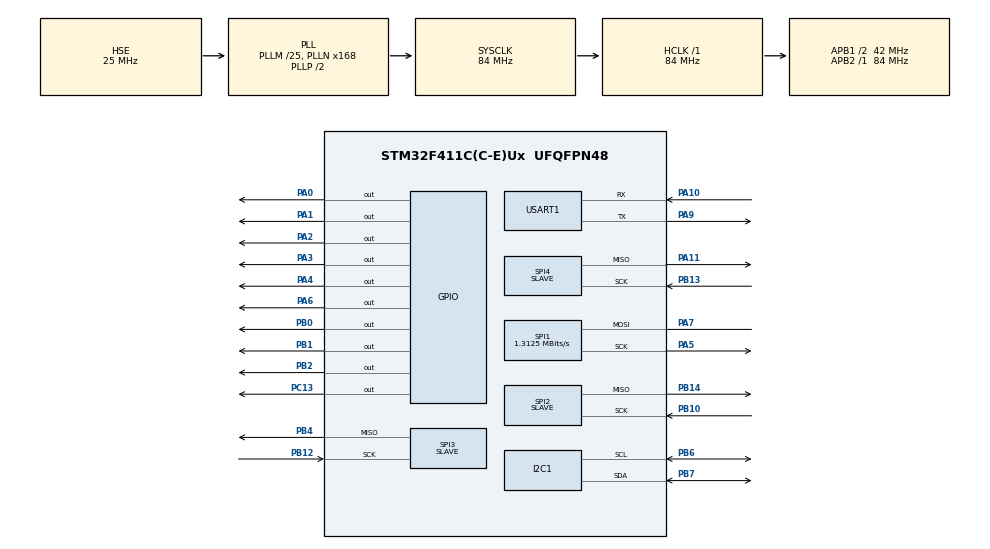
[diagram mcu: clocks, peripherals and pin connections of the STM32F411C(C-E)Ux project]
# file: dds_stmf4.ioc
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Dma.I2C1_TX.6.Direction=DMA_MEMORY_TO_PERIPH
Dma.I2C1_TX.6.FIFOMode=DMA_FIFOMODE_DISABLE
Dma.I2C1_TX.6.Instance=DMA1_Stream1
Dma.I2C1_TX.6.MemDataAlignment=DMA_MDATAALIGN_BYTE
Dma.I2C1_TX.6.MemInc=DMA_MINC_ENABLE
Dma.I2C1_TX.6.Mode=DMA_NORMAL
Dma.I2C1_TX.6.PeriphDataAlignment=DMA_PDATAALIGN_BYTE
Dma.I2C1_TX.6.PeriphInc=DMA_PINC_DISABLE
Dma.I2C1_TX.6.Priority=DMA_PRIORITY_LOW
Dma.Request0=SPI1_TX
Dma.Request1=SPI2_TX
Dma.Request2=SPI4_TX
Dma.Request3=SPI3_TX
Dma.Request4=USART1_TX
Dma.Request5=USART1_RX
Dma.Request6=I2C1_TX
Dma.SPI1_TX.0.Direction=DMA_MEMORY_TO_PERIPH
Dma.SPI1_TX.0.FIFOMode=DMA_FIFOMODE_DISABLE
Dma.SPI1_TX.0.Instance=DMA2_Stream2
Dma.SPI1_TX.0.MemDataAlignment=DMA_MDATAALIGN_BYTE
Dma.SPI1_TX.0.MemInc=DMA_MINC_ENABLE
Dma.SPI1_TX.0.Mode=DMA_NORMAL
Dma.SPI1_TX.0.PeriphDataAlignment=DMA_PDATAALIGN_BYTE
Dma.SPI1_TX.0.PeriphInc=DMA_PINC_DISABLE
Dma.SPI1_TX.0.Priority=DMA_PRIORITY_LOW
Dma.SPI2_TX.1.Direction=DMA_MEMORY_TO_PERIPH
Dma.SPI2_TX.1.FIFOMode=DMA_FIFOMODE_DISABLE
Dma.SPI2_TX.1.Instance=DMA1_Stream4
Dma.SPI2_TX.1.MemDataAlignment=DMA_MDATAALIGN_BYTE
Dma.SPI2_TX.1.MemInc=DMA_MINC_ENABLE
Dma.SPI2_TX.1.Mode=DMA_NORMAL
Dma.SPI2_TX.1.PeriphDataAlignment=DMA_PDATAALIGN_BYTE
Dma.SPI2_TX.1.PeriphInc=DMA_PINC_DISABLE
Dma.SPI2_TX.1.Priority=DMA_PRIORITY_LOW
Dma.SPI3_TX.3.Direction=DMA_MEMORY_TO_PERIPH
Dma.SPI3_TX.3.FIFOMode=DMA_FIFOMODE_DISABLE
Dma.SPI3_TX.3.Instance=DMA1_Stream5
Dma.SPI3_TX.3.MemDataAlignment=DMA_MDATAALIGN_BYTE
Dma.SPI3_TX.3.MemInc=DMA_MINC_ENABLE
Dma.SPI3_TX.3.Mode=DMA_NORMAL
Dma.SPI3_TX.3.PeriphDataAlignment=DMA_PDATAALIGN_BYTE
Dma.SPI3_TX.3.PeriphInc=DMA_PINC_DISABLE
Dma.SPI3_TX.3.Priority=DMA_PRIORITY_LOW
Dma.SPI4_TX.2.Direction=DMA_MEMORY_TO_PERIPH
Dma.SPI4_TX.2.FIFOMode=DMA_FIFOMODE_DISABLE
Dma.SPI4_TX.2.Instance=DMA2_Stream1
Dma.SPI4_TX.2.MemDataAlignment=DMA_MDATAALIGN_BYTE
Dma.SPI4_TX.2.MemInc=DMA_MINC_ENABLE
Dma.SPI4_TX.2.Mode=DMA_NORMAL
Dma.SPI4_TX.2.PeriphDataAlignment=DMA_PDATAALIGN_BYTE
Dma.SPI4_TX.2.PeriphInc=DMA_PINC_DISABLE
Dma.SPI4_TX.2.Priority=DMA_PRIORITY_LOW
Dma.USART1_RX.5.Direction=DMA_PERIPH_TO_MEMORY
Dma.USART1_RX.5.FIFOMode=DMA_FIFOMODE_DISABLE
Dma.USART1_RX.5.Instance=DMA2_Stream5
Dma.USART1_RX.5.MemDataAlignment=DMA_MDATAALIGN_BYTE
Dma.USART1_RX.5.MemInc=DMA_MINC_ENABLE
Dma.USART1_RX.5.Mode=DMA_NORMAL
Dma.USART1_RX.5.PeriphDataAlignment=DMA_PDATAALIGN_BYTE
Dma.USART1_RX.5.PeriphInc=DMA_PINC_DISABLE
Dma.USART1_RX.5.Priority=DMA_PRIORITY_LOW
Dma.USART1_TX.4.Direction=DMA_MEMORY_TO_PERIPH
Dma.USART1_TX.4.FIFOMode=DMA_FIFOMODE_DISABLE
Dma.USART1_TX.4.Instance=DMA2_Stream7
Dma.USART1_TX.4.MemDataAlignment=DMA_MDATAALIGN_BYTE
Dma.USART1_TX.4.MemInc=DMA_MINC_ENABLE
Dma.USART1_TX.4.Mode=DMA_NORMAL
Dma.USART1_TX.4.PeriphDataAlignment=DMA_PDATAALIGN_BYTE
Dma.USART1_TX.4.PeriphInc=DMA_PINC_DISABLE
Dma.USART1_TX.4.Priority=DMA_PRIORITY_LOW
Mcu.Family=STM32F4
Mcu.Name=STM32F411C(C-E)Ux
Mcu.Package=UFQFPN48
NVIC.DMA1_Stream1_IRQn=true\:0\:0\:false\:false\:true\:false\:true\:true
NVIC.DMA1_Stream4_IRQn=true\:0\:0\:false\:false\:true\:false\:true\:true
NVIC.DMA1_Stream5_IRQn=true\:0\:0\:false\:false\:true\:false\:true\:true
NVIC.DMA2_Stream1_IRQn=true\:0\:0\:false\:false\:true\:false\:true\:true
NVIC.DMA2_Stream2_IRQn=true\:0\:0\:false\:false\:true\:false\:true\:true
NVIC.DMA2_Stream5_IRQn=true\:0\:0\:false\:false\:true\:false\:true\:true
NVIC.DMA2_Stream7_IRQn=true\:0\:0\:false\:false\:true\:false\:true\:true
NVIC.PriorityGroup=NVIC_PRIORITYGROUP_4
NVIC.SPI1_IRQn=true\:0\:0\:false\:false\:true\:true\:true\:true
NVIC.USART1_IRQn=true\:0\:0\:false\:false\:true\:true\:true\:true
PA0-WKUP.GPIO_PuPd=GPIO_PULLDOWN
PA0-WKUP.GPIO_Speed=GPIO_SPEED_FREQ_VERY_HIGH
PA0-WKUP.Signal=GPIO_Output
PA1.GPIO_PuPd=GPIO_PULLDOWN
PA1.GPIO_Speed=GPIO_SPEED_FREQ_VERY_HIGH
PA1.Signal=GPIO_Output
PA10.Mode=Asynchronous
PA10.Signal=USART1_RX
PA11.Mode=TX_Only_Simplex_Unidirect_Slave
PA11.Signal=SPI4_MISO
PA13.Mode=Serial_Wire
PA13.Signal=SYS_JTMS-SWDIO
PA14.Mode=Serial_Wire
PA14.Signal=SYS_JTCK-SWCLK
PA2.GPIO_PuPd=GPIO_PULLDOWN
PA2.GPIO_Speed=GPIO_SPEED_FREQ_VERY_HIGH
PA2.Signal=GPIO_Output
PA3.GPIO_PuPd=GPIO_PULLDOWN
PA3.GPIO_Speed=GPIO_SPEED_FREQ_VERY_HIGH
PA3.Signal=GPIO_Output
PA4.GPIO_PuPd=GPIO_PULLDOWN
PA4.GPIO_Speed=GPIO_SPEED_FREQ_VERY_HIGH
PA4.Signal=GPIO_Output
PA5.Mode=Simplex_Bidirectional_Master
PA5.Signal=SPI1_SCK
PA6.GPIO_ModeDefaultOutputPP=GPIO_MODE_OUTPUT_OD
PA6.GPIO_PuPd=GPIO_NOPULL
PA6.GPIO_Speed=GPIO_SPEED_FREQ_VERY_HIGH
PA6.PinState=GPIO_PIN_SET
PA6.Signal=GPIO_Output
PA7.Mode=Simplex_Bidirectional_Master
PA7.Signal=SPI1_MOSI
PA9.Mode=Asynchronous
PA9.Signal=USART1_TX
PB0.GPIO_PuPd=GPIO_PULLDOWN
PB0.GPIO_Speed=GPIO_SPEED_FREQ_VERY_HIGH
PB0.Signal=GPIO_Output
PB1.GPIO_PuPd=GPIO_PULLDOWN
PB1.GPIO_Speed=GPIO_SPEED_FREQ_VERY_HIGH
PB1.Signal=GPIO_Output
PB10.Mode=TX_Only_Simplex_Unidirect_Slave
PB10.Signal=SPI2_SCK
PB12.Mode=TX_Only_Simplex_Unidirect_Slave
PB12.Signal=SPI3_SCK
PB13.Mode=TX_Only_Simplex_Unidirect_Slave
PB13.Signal=SPI4_SCK
PB14.Mode=TX_Only_Simplex_Unidirect_Slave
PB14.Signal=SPI2_MISO
PB2.GPIO_PuPd=GPIO_PULLDOWN
PB2.GPIO_Speed=GPIO_SPEED_FREQ_VERY_HIGH
PB2.Signal=GPIO_Output
PB4.Mode=TX_Only_Simplex_Unidirect_Slave
PB4.Signal=SPI3_MISO
PB6.Mode=I2C
PB6.Signal=I2C1_SCL
PB7.Mode=I2C
PB7.Signal=I2C1_SDA
PC13-ANTI_TAMP.GPIO_PuPd=GPIO_PULLDOWN
PC13-ANTI_TAMP.Signal=GPIO_Output
PH0\ -\ OSC_IN.Mode=HSE-External-Oscillator
PH0\ -\ OSC_IN.Signal=RCC_OSC_IN
PH1\ -\ OSC_OUT.Mode=HSE-External-Oscillator
PH1\ -\ OSC_OUT.Signal=RCC_OSC_OUT
ProjectManager.HeapSize=0x200
ProjectManager.StackSize=0x400
ProjectManager.TargetToolchain=MDK-ARM V5.32
RCC.48MHZClocksFreq_Value=42000000
RCC.AHBFreq_Value=84000000
RCC.APB1CLKDivider=RCC_HCLK_DIV2
RCC.APB1Freq_Value=42000000
RCC.APB1TimFreq_Value=84000000
RCC.APB2Freq_Value=84000000
RCC.APB2TimFreq_Value=84000000
RCC.CortexFreq_Value=84000000
RCC.HCLKFreq_Value=84000000
RCC.HSE_VALUE=25000000
RCC.HSI_VALUE=16000000
RCC.LSE_VALUE=32768
RCC.PLLM=25
RCC.PLLN=168
RCC.PLLSourceVirtual=RCC_PLLSOURCE_HSE
RCC.RCC_RTC_Clock_SourceVirtual=RCC_RTCCLKSOURCE_HSE_DIV25
RCC.RCC_RTC_Clock_Source_FROM_HSE=RCC_RTCCLKSOURCE_HSE_DIV25
RCC.SYSCLKFreq_VALUE=84000000
RCC.SYSCLKSource=RCC_SYSCLKSOURCE_PLLCLK
RCC.VCOOutputFreq_Value=168000000
SPI1.BaudRatePrescaler=SPI_BAUDRATEPRESCALER_64
SPI1.CalculateBaudRate=1.3125 MBits/s
SPI1.DataSize=SPI_DATASIZE_8BIT
SPI1.Direction=SPI_DIRECTION_1LINE
SPI1.Mode=SPI_MODE_MASTER
SPI1.VirtualType=VM_MASTER
SPI2.DataSize=SPI_DATASIZE_8BIT
SPI2.Direction=SPI_DIRECTION_2LINES
SPI2.Mode=SPI_MODE_SLAVE
SPI2.VirtualType=VM_SLAVE
SPI3.DataSize=SPI_DATASIZE_8BIT
SPI3.Direction=SPI_DIRECTION_2LINES
SPI3.Mode=SPI_MODE_SLAVE
SPI3.VirtualType=VM_SLAVE
SPI4.DataSize=SPI_DATASIZE_8BIT
SPI4.Direction=SPI_DIRECTION_2LINES
SPI4.Mode=SPI_MODE_SLAVE
SPI4.VirtualType=VM_SLAVE
USART1.VirtualMode=VM_ASYNC
VP_RTC_VS_RTC_Activate.Mode=RTC_Enabled
board=custom

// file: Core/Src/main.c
/* USER CODE BEGIN Header */
/**
  ******************************************************************************
  * @file           : main.c
  * @brief          : Main program body
  ******************************************************************************
  * @attention
  *
  * Copyright (c) 2025 STMicroelectronics.
  * All rights reserved.
  *
  * This software is licensed under terms that can be found in the LICENSE file
  * in the root directory of this software component.
  * If no LICENSE file comes with this software, it is provided AS-IS.
  *
  ******************************************************************************
  */
/* USER CODE END Header */
#include "main.h"

/* USER CODE BEGIN Includes */
#include <string.h>

/* USER CODE END Includes */

I2C_HandleTypeDef hi2c1;
DMA_HandleTypeDef hdma_i2c1_tx;

RTC_HandleTypeDef hrtc;

SPI_HandleTypeDef hspi1;
SPI_HandleTypeDef hspi2;
SPI_HandleTypeDef hspi3;
SPI_HandleTypeDef hspi4;
DMA_HandleTypeDef hdma_spi1_tx;
DMA_HandleTypeDef hdma_spi2_tx;
DMA_HandleTypeDef hdma_spi3_tx;
DMA_HandleTypeDef hdma_spi4_tx;

UART_HandleTypeDef huart1;
DMA_HandleTypeDef hdma_usart1_tx;
DMA_HandleTypeDef hdma_usart1_rx;

void SystemClock_Config(void);
static void MX_GPIO_Init(void);
static void MX_DMA_Init(void);
static void MX_SPI1_Init(void);
static void MX_SPI2_Init(void);
static void MX_SPI3_Init(void);
static void MX_SPI4_Init(void);
static void MX_USART1_UART_Init(void);
static void MX_I2C1_Init(void);
static void MX_RTC_Init(void);
/* USER CODE BEGIN PFP */

char str[18] = "";
uint8_t inpStr[8];
int position = 2;
int totalPosition = 5;
uint8_t sendMode = 1;
uint8_t resMode = 0;

/* USER CODE END PFP */

/* USER CODE BEGIN 0 */
void HAL_SPI_RxCpltCallback(SPI_HandleTypeDef *hspi) {
	HAL_UART_Transmit(&huart1, (uint8_t*) "spi ", 4, 0xFF);
	HAL_UART_Transmit(&huart1, (uint8_t*) str, totalPosition, 0xFF);
	HAL_UART_Transmit(&huart1, (uint8_t*) "\r\n", 2, 0xFF);
}

void HAL_UART_RxCpltCallback(UART_HandleTypeDef *huart) {

	if (resMode == 0) {
		if (inpStr[0] == 0x14) {
			HAL_GPIO_WritePin(GPIOB, GPIO_PIN_0, GPIO_PIN_SET);
			//HAL_Delay(100);
			for(int i = 0; i<100000; i++) {};
			HAL_UART_Receive_IT(&huart1,inpStr,3);
			HAL_GPIO_WritePin(GPIOB, GPIO_PIN_0, GPIO_PIN_RESET);
		}
		else if (inpStr[0] == 0x15) {
			HAL_GPIO_WritePin(GPIOA, GPIO_PIN_6, GPIO_PIN_RESET);
			//HAL_Delay(100);
			for(int i = 0; i<100000; i++) {};
			HAL_UART_Receive_IT(&huart1,inpStr,3);
			HAL_GPIO_WritePin(GPIOA, GPIO_PIN_6, GPIO_PIN_SET);
		}
		else if (inpStr[0] == 0x20) {
			HAL_GPIO_WritePin(GPIOA, GPIO_PIN_4, GPIO_PIN_RESET);
			totalPosition = (int) inpStr[1];
			uint8_t addrRead[1];
			addrRead[0] = (0x80 | inpStr[2]);
			HAL_SPI_Transmit(&hspi1, (uint8_t*)addrRead, 1, 0xFF);
			HAL_SPI_Receive_DMA(&hspi1, (uint8_t*)str, totalPosition);
			HAL_UART_Receive_IT(&huart1,inpStr,3);
			HAL_GPIO_WritePin(GPIOA, GPIO_PIN_4, GPIO_PIN_SET);
		}
		else {
			sendMode = (int)inpStr[0];
			totalPosition = (int) inpStr[1];
			resMode = 1;
			HAL_UART_Receive_IT(&huart1,(uint8_t*)str,totalPosition);
		}
	}
	else {
		if (sendMode == 1) {
			HAL_GPIO_WritePin(GPIOA, GPIO_PIN_4, GPIO_PIN_RESET);
			HAL_SPI_Transmit_DMA(&hspi1, (uint8_t*)str, totalPosition);
			HAL_UART_Transmit(&huart1, (uint8_t*)str, totalPosition, 0xFFFF);
			HAL_UART_Transmit(&huart1, (uint8_t*)"\r\n", 2, 0xFFFF);
			//HAL_Delay(1);
			HAL_GPIO_WritePin(GPIOA, GPIO_PIN_4, GPIO_PIN_SET);
		}
		else if (sendMode == 3) {
			HAL_GPIO_WritePin(GPIOA, GPIO_PIN_4, GPIO_PIN_RESET);
			HAL_SPI_Transmit(&hspi1, (uint8_t*)str, 1, 0xFFFF);
			HAL_SPI_Transmit_DMA(&hspi1, (uint8_t*)str+1, totalPosition-1);
			uint8_t sstr[25];
			HAL_UART_Transmit(&huart1, (uint8_t*)str, totalPosition, 0xFFFF);
			HAL_UART_Transmit(&huart1, (uint8_t*)"\r\n", 2, 0xFFFF);
			//HAL_Delay(1);
			HAL_GPIO_WritePin(GPIOA, GPIO_PIN_4, GPIO_PIN_SET);
		}
		resMode = 0;
		//HAL_Delay(100);
		HAL_UART_Receive_IT(&huart1,inpStr,3);
	}

	/*if (totalPosition == 0) {
		sendMode = (int)inpStr[0];
		totalPosition = 1;
		position = 0;
	}
	else if ((position == 0)&&(totalPosition == 1)) {
		totalPosition = (int)inpStr[0];
		position = 1;
	}
	else if (position < totalPosition) {
		str[position-1] = inpStr[0];
		position++;
	}
	else {
		str[position-1] = inpStr[0];
		totalPosition = 0;
		if (sendMode == 1) {
			HAL_SPI_Transmit_DMA(&hspi1, (uint8_t*)str, strlen(str));
			HAL_UART_Transmit(&huart1, (uint8_t*) str, strlen(str), 0xFFFF);
			HAL_UART_Transmit(&huart1, (uint8_t*) "\r\n", 2, 0xFFFF);
		}
	}*/

	/*if (inpStr[0] != '\n') {
		str[position] = inpStr[0];
		//for (int i = 0; i<16; i++) str[i]=(uint8_t)0x00;
		if (position < 16) position++;
		else {
			str[position] = '\n';
			//str[position + 1] = (uint8_t)0x00;
			position = 0;
		}
	}
	else {
		position++;
		str[position] = '\n';
		while (position < 18) {
			position++;
			str[position] = (uint8_t)0x00;
		}
		position = 0;
	}*/

}
/* USER CODE END 0 */

int main(void)
{

  /* MCU Configuration--------------------------------------------------------*/

  /* Reset of all peripherals, Initializes the Flash interface and the Systick. */
  HAL_Init();

  /* Configure the system clock */
  SystemClock_Config();

  /* Initialize all configured peripherals */
  MX_GPIO_Init();
  MX_DMA_Init();
  MX_SPI1_Init();
  MX_SPI2_Init();
  MX_SPI3_Init();
  MX_SPI4_Init();
  MX_USART1_UART_Init();
  MX_I2C1_Init();
  MX_RTC_Init();
  /* USER CODE BEGIN 2 */
	HAL_UART_Transmit(&huart1, (uint8_t*)"uart->SPI v0.1.1\r\n", 18, 0xFFFF);
	HAL_UART_Receive_IT(&huart1, inpStr, 3);
	str[0] = (uint8_t)0x33;
	str[1] = (uint8_t)0x3D;
	str[2] = (uint8_t)0x3D;
	str[3] = (uint8_t)0x3D;
	str[4] = (uint8_t)0x44;
	HAL_GPIO_WritePin(GPIOA, GPIO_PIN_4, GPIO_PIN_SET);
  /* USER CODE END 2 */

  /* Infinite loop */
  while (1)
  {

    /* USER CODE BEGIN 3 */
		if (sendMode == 0) {
			HAL_GPIO_WritePin(GPIOA, GPIO_PIN_4, GPIO_PIN_RESET);
			HAL_SPI_Transmit_DMA(&hspi1, (uint8_t*) str, totalPosition);
			HAL_UART_Transmit(&huart1, (uint8_t*)str, totalPosition, 0xFFFF);
			HAL_UART_Transmit(&huart1, (uint8_t*)"\r\n", 2, 0xFFFF);
			//HAL_Delay(1);
			HAL_GPIO_WritePin(GPIOA, GPIO_PIN_4, GPIO_PIN_SET);
		}
		HAL_GPIO_TogglePin(GPIOC, GPIO_PIN_13);
		HAL_Delay(sendMode == 2 ? 100 : 1000);
  }
  /* USER CODE END 3 */
}

void SystemClock_Config(void)
{
  RCC_OscInitTypeDef RCC_OscInitStruct = {0};
  RCC_ClkInitTypeDef RCC_ClkInitStruct = {0};

  /** Configure the main internal regulator output voltage
  */
  __HAL_RCC_PWR_CLK_ENABLE();
  __HAL_PWR_VOLTAGESCALING_CONFIG(PWR_REGULATOR_VOLTAGE_SCALE1);

  /** Initializes the RCC Oscillators according to the specified parameters
  * in the RCC_OscInitTypeDef structure.
  */
  RCC_OscInitStruct.OscillatorType = RCC_OSCILLATORTYPE_HSE;
  RCC_OscInitStruct.HSEState = RCC_HSE_ON;
  RCC_OscInitStruct.PLL.PLLState = RCC_PLL_ON;
  RCC_OscInitStruct.PLL.PLLSource = RCC_PLLSOURCE_HSE;
  RCC_OscInitStruct.PLL.PLLM = 25;
  RCC_OscInitStruct.PLL.PLLN = 168;
  RCC_OscInitStruct.PLL.PLLP = RCC_PLLP_DIV2;
  RCC_OscInitStruct.PLL.PLLQ = 4;
  if (HAL_RCC_OscConfig(&RCC_OscInitStruct) != HAL_OK)
  {
    Error_Handler();
  }

  /** Initializes the CPU, AHB and APB buses clocks
  */
  RCC_ClkInitStruct.ClockType = RCC_CLOCKTYPE_HCLK|RCC_CLOCKTYPE_SYSCLK
                              |RCC_CLOCKTYPE_PCLK1|RCC_CLOCKTYPE_PCLK2;
  RCC_ClkInitStruct.SYSCLKSource = RCC_SYSCLKSOURCE_PLLCLK;
  RCC_ClkInitStruct.AHBCLKDivider = RCC_SYSCLK_DIV1;
  RCC_ClkInitStruct.APB1CLKDivider = RCC_HCLK_DIV2;
  RCC_ClkInitStruct.APB2CLKDivider = RCC_HCLK_DIV1;

  if (HAL_RCC_ClockConfig(&RCC_ClkInitStruct, FLASH_LATENCY_2) != HAL_OK)
  {
    Error_Handler();
  }
}

static void MX_I2C1_Init(void)
{

  hi2c1.Instance = I2C1;
  hi2c1.Init.ClockSpeed = 100000;
  hi2c1.Init.DutyCycle = I2C_DUTYCYCLE_2;
  hi2c1.Init.OwnAddress1 = 0;
  hi2c1.Init.AddressingMode = I2C_ADDRESSINGMODE_7BIT;
  hi2c1.Init.DualAddressMode = I2C_DUALADDRESS_DISABLE;
  hi2c1.Init.OwnAddress2 = 0;
  hi2c1.Init.GeneralCallMode = I2C_GENERALCALL_DISABLE;
  hi2c1.Init.NoStretchMode = I2C_NOSTRETCH_DISABLE;
  if (HAL_I2C_Init(&hi2c1) != HAL_OK)
  {
    Error_Handler();
  }

}

static void MX_RTC_Init(void)
{

  /** Initialize RTC Only
  */
  hrtc.Instance = RTC;
  hrtc.Init.HourFormat = RTC_HOURFORMAT_24;
  hrtc.Init.AsynchPrediv = 127;
  hrtc.Init.SynchPrediv = 255;
  hrtc.Init.OutPut = RTC_OUTPUT_DISABLE;
  hrtc.Init.OutPutPolarity = RTC_OUTPUT_POLARITY_HIGH;
  hrtc.Init.OutPutType = RTC_OUTPUT_TYPE_OPENDRAIN;
  if (HAL_RTC_Init(&hrtc) != HAL_OK)
  {
    Error_Handler();
  }

}

static void MX_SPI1_Init(void)
{

  /* SPI1 parameter configuration*/
  hspi1.Instance = SPI1;
  hspi1.Init.Mode = SPI_MODE_MASTER;
  hspi1.Init.Direction = SPI_DIRECTION_1LINE;
  hspi1.Init.DataSize = SPI_DATASIZE_8BIT;
  hspi1.Init.CLKPolarity = SPI_POLARITY_LOW;
  hspi1.Init.CLKPhase = SPI_PHASE_1EDGE;
  hspi1.Init.NSS = SPI_NSS_SOFT;
  hspi1.Init.BaudRatePrescaler = SPI_BAUDRATEPRESCALER_64;
  hspi1.Init.FirstBit = SPI_FIRSTBIT_MSB;
  hspi1.Init.TIMode = SPI_TIMODE_DISABLE;
  hspi1.Init.CRCCalculation = SPI_CRCCALCULATION_DISABLE;
  hspi1.Init.CRCPolynomial = 10;
  if (HAL_SPI_Init(&hspi1) != HAL_OK)
  {
    Error_Handler();
  }

}

static void MX_SPI2_Init(void)
{

  /* SPI2 parameter configuration*/
  hspi2.Instance = SPI2;
  hspi2.Init.Mode = SPI_MODE_SLAVE;
  hspi2.Init.Direction = SPI_DIRECTION_2LINES;
  hspi2.Init.DataSize = SPI_DATASIZE_8BIT;
  hspi2.Init.CLKPolarity = SPI_POLARITY_LOW;
  hspi2.Init.CLKPhase = SPI_PHASE_1EDGE;
  hspi2.Init.NSS = SPI_NSS_SOFT;
  hspi2.Init.FirstBit = SPI_FIRSTBIT_MSB;
  hspi2.Init.TIMode = SPI_TIMODE_DISABLE;
  hspi2.Init.CRCCalculation = SPI_CRCCALCULATION_DISABLE;
  hspi2.Init.CRCPolynomial = 10;
  if (HAL_SPI_Init(&hspi2) != HAL_OK)
  {
    Error_Handler();
  }

}

static void MX_SPI3_Init(void)
{

  /* SPI3 parameter configuration*/
  hspi3.Instance = SPI3;
  hspi3.Init.Mode = SPI_MODE_SLAVE;
  hspi3.Init.Direction = SPI_DIRECTION_2LINES;
  hspi3.Init.DataSize = SPI_DATASIZE_8BIT;
  hspi3.Init.CLKPolarity = SPI_POLARITY_LOW;
  hspi3.Init.CLKPhase = SPI_PHASE_1EDGE;
  hspi3.Init.NSS = SPI_NSS_SOFT;
  hspi3.Init.FirstBit = SPI_FIRSTBIT_MSB;
  hspi3.Init.TIMode = SPI_TIMODE_DISABLE;
  hspi3.Init.CRCCalculation = SPI_CRCCALCULATION_DISABLE;
  hspi3.Init.CRCPolynomial = 10;
  if (HAL_SPI_Init(&hspi3) != HAL_OK)
  {
    Error_Handler();
  }

}

static void MX_SPI4_Init(void)
{

  /* SPI4 parameter configuration*/
  hspi4.Instance = SPI4;
  hspi4.Init.Mode = SPI_MODE_SLAVE;
  hspi4.Init.Direction = SPI_DIRECTION_2LINES;
  hspi4.Init.DataSize = SPI_DATASIZE_8BIT;
  hspi4.Init.CLKPolarity = SPI_POLARITY_LOW;
  hspi4.Init.CLKPhase = SPI_PHASE_1EDGE;
  hspi4.Init.NSS = SPI_NSS_SOFT;
  hspi4.Init.FirstBit = SPI_FIRSTBIT_MSB;
  hspi4.Init.TIMode = SPI_TIMODE_DISABLE;
  hspi4.Init.CRCCalculation = SPI_CRCCALCULATION_DISABLE;
  hspi4.Init.CRCPolynomial = 10;
  if (HAL_SPI_Init(&hspi4) != HAL_OK)
  {
    Error_Handler();
  }

}

static void MX_USART1_UART_Init(void)
{

  huart1.Instance = USART1;
  huart1.Init.BaudRate = 115200;
  huart1.Init.WordLength = UART_WORDLENGTH_8B;
  huart1.Init.StopBits = UART_STOPBITS_1;
  huart1.Init.Parity = UART_PARITY_NONE;
  huart1.Init.Mode = UART_MODE_TX_RX;
  huart1.Init.HwFlowCtl = UART_HWCONTROL_NONE;
  huart1.Init.OverSampling = UART_OVERSAMPLING_16;
  if (HAL_UART_Init(&huart1) != HAL_OK)
  {
    Error_Handler();
  }

}

static void MX_DMA_Init(void)
{

  /* DMA controller clock enable */
  __HAL_RCC_DMA2_CLK_ENABLE();
  __HAL_RCC_DMA1_CLK_ENABLE();

  /* DMA interrupt init */
  /* DMA1_Stream1_IRQn interrupt configuration */
  HAL_NVIC_SetPriority(DMA1_Stream1_IRQn, 0, 0);
  HAL_NVIC_EnableIRQ(DMA1_Stream1_IRQn);
  /* DMA1_Stream4_IRQn interrupt configuration */
  HAL_NVIC_SetPriority(DMA1_Stream4_IRQn, 0, 0);
  HAL_NVIC_EnableIRQ(DMA1_Stream4_IRQn);
  /* DMA1_Stream5_IRQn interrupt configuration */
  HAL_NVIC_SetPriority(DMA1_Stream5_IRQn, 0, 0);
  HAL_NVIC_EnableIRQ(DMA1_Stream5_IRQn);
  /* DMA2_Stream1_IRQn interrupt configuration */
  HAL_NVIC_SetPriority(DMA2_Stream1_IRQn, 0, 0);
  HAL_NVIC_EnableIRQ(DMA2_Stream1_IRQn);
  /* DMA2_Stream2_IRQn interrupt configuration */
  HAL_NVIC_SetPriority(DMA2_Stream2_IRQn, 0, 0);
  HAL_NVIC_EnableIRQ(DMA2_Stream2_IRQn);
  /* DMA2_Stream5_IRQn interrupt configuration */
  HAL_NVIC_SetPriority(DMA2_Stream5_IRQn, 0, 0);
  HAL_NVIC_EnableIRQ(DMA2_Stream5_IRQn);
  /* DMA2_Stream7_IRQn interrupt configuration */
  HAL_NVIC_SetPriority(DMA2_Stream7_IRQn, 0, 0);
  HAL_NVIC_EnableIRQ(DMA2_Stream7_IRQn);

}

static void MX_GPIO_Init(void)
{
  GPIO_InitTypeDef GPIO_InitStruct = {0};

  /* GPIO Ports Clock Enable */
  __HAL_RCC_GPIOC_CLK_ENABLE();
  __HAL_RCC_GPIOH_CLK_ENABLE();
  __HAL_RCC_GPIOA_CLK_ENABLE();
  __HAL_RCC_GPIOB_CLK_ENABLE();

  /*Configure GPIO pin Output Level */
  HAL_GPIO_WritePin(GPIOC, GPIO_PIN_13, GPIO_PIN_RESET);

  /*Configure GPIO pin Output Level */
  HAL_GPIO_WritePin(GPIOA, GPIO_PIN_0|GPIO_PIN_1|GPIO_PIN_2|GPIO_PIN_3
                          |GPIO_PIN_4, GPIO_PIN_RESET);

  /*Configure GPIO pin Output Level */
  HAL_GPIO_WritePin(GPIOA, GPIO_PIN_6, GPIO_PIN_SET);

  /*Configure GPIO pin Output Level */
  HAL_GPIO_WritePin(GPIOB, GPIO_PIN_0|GPIO_PIN_1|GPIO_PIN_2, GPIO_PIN_RESET);

  /*Configure GPIO pin : PC13 */
  GPIO_InitStruct.Pin = GPIO_PIN_13;
  GPIO_InitStruct.Mode = GPIO_MODE_OUTPUT_PP;
  GPIO_InitStruct.Pull = GPIO_PULLDOWN;
  GPIO_InitStruct.Speed = GPIO_SPEED_FREQ_LOW;
  HAL_GPIO_Init(GPIOC, &GPIO_InitStruct);

  /*Configure GPIO pins : PA0 PA1 PA2 PA3
                           PA4 */
  GPIO_InitStruct.Pin = GPIO_PIN_0|GPIO_PIN_1|GPIO_PIN_2|GPIO_PIN_3
                          |GPIO_PIN_4;
  GPIO_InitStruct.Mode = GPIO_MODE_OUTPUT_PP;
  GPIO_InitStruct.Pull = GPIO_PULLDOWN;
  GPIO_InitStruct.Speed = GPIO_SPEED_FREQ_VERY_HIGH;
  HAL_GPIO_Init(GPIOA, &GPIO_InitStruct);

  /*Configure GPIO pin : PA6 */
  GPIO_InitStruct.Pin = GPIO_PIN_6;
  GPIO_InitStruct.Mode = GPIO_MODE_OUTPUT_OD;
  GPIO_InitStruct.Pull = GPIO_NOPULL;
  GPIO_InitStruct.Speed = GPIO_SPEED_FREQ_VERY_HIGH;
  HAL_GPIO_Init(GPIOA, &GPIO_InitStruct);

  /*Configure GPIO pins : PB0 PB1 PB2 */
  GPIO_InitStruct.Pin = GPIO_PIN_0|GPIO_PIN_1|GPIO_PIN_2;
  GPIO_InitStruct.Mode = GPIO_MODE_OUTPUT_PP;
  GPIO_InitStruct.Pull = GPIO_PULLDOWN;
  GPIO_InitStruct.Speed = GPIO_SPEED_FREQ_VERY_HIGH;
  HAL_GPIO_Init(GPIOB, &GPIO_InitStruct);

}

void Error_Handler(void)
{
  /* USER CODE BEGIN Error_Handler_Debug */
  /* User can add his own implementation to report the HAL error return state */
  __disable_irq();
  while (1)
  {
		HAL_GPIO_TogglePin(GPIOC, GPIO_PIN_13);
		HAL_Delay(100);
  }
  /* USER CODE END Error_Handler_Debug */
}
